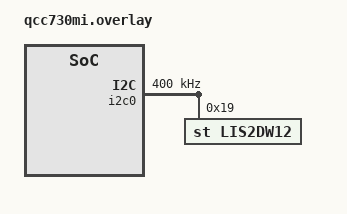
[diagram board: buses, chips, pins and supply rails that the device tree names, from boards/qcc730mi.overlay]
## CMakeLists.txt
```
# SPDX-License-Identifier: BSD-3-Clause-Clear
# Copyright (c) Qualcomm Technologies, Inc. and/or its subsidiaries.

cmake_minimum_required(VERSION 3.20.0)
find_package(Zephyr REQUIRED HINTS $ENV{ZEPHYR_BASE})
project(i2c_qcc730_test)

FILE(GLOB app_sources src/*.c)
target_sources(app PRIVATE ${app_sources})
```

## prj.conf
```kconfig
# SPDX-License-Identifier: BSD-3-Clause-Clear
# Copyright (c) Qualcomm Technologies, Inc. and/or its subsidiaries.

CONFIG_ZTEST=y
CONFIG_ZTRESS=y
CONFIG_ZTRESS_MAX_THREADS=5
CONFIG_SYS_CLOCK_TICKS_PER_SEC=10000
CONFIG_ZTEST_STACK_SIZE=2048
CONFIG_I2C=y
CONFIG_I2C_QCC730_TIMEOUT_MS=100
CONFIG_SENSOR=y
CONFIG_LIS2DW12=y

# Performance Optimizations
CONFIG_SYSTEM_WORKQUEUE_STACK_SIZE=2048
CONFIG_MAIN_STACK_SIZE=2048
```

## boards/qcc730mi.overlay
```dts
/*
 * Copyright (c) 2025 Qualcomm Technologies, Inc. and/or its subsidiaries
 *
 * SPDX-License-Identifier: BSD-3-Clause-Clear
 */

/ {
	aliases {
		i2c-test = &i2c0;
	};
};

&i2c0 {
	status = "okay";
	clock-frequency = <I2C_BITRATE_FAST>;

	lis2dw12@19 {
		compatible = "st,lis2dw12";
		reg = <0x19>;
		power-mode = <4>;      /* High Performance mode */
		odr = <1600>;          /* 1600 Hz output data rate */
		status = "okay";
	};
};
```

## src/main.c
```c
/*
 * Copyright (c) Qualcomm Technologies, Inc. and/or its subsidiaries.
 * SPDX-License-Identifier: BSD-3-Clause-Clear
 *
 * I2C Stress Test Suite for QCC730.
 * Uses ztress framework for robustness validation.
 */

#include <zephyr/ztest.h>
#include <zephyr/drivers/i2c.h>
#include <zephyr/drivers/sensor.h>
#include <zephyr/ztress.h>
#include <zephyr/kernel.h>
#include <zephyr/logging/log.h>
#include <zephyr/sys/atomic.h>
#include <zephyr/random/random.h>

#include <string.h>

LOG_MODULE_REGISTER(i2c_stress_test, LOG_LEVEL_INF);

/* Test configuration */
#define TEST_I2C_ADDR         0x50 /* Dummy address for loopback tests */
#define LIS2DW12_ADDR         0x19 /* LIS2DW12 I2C address */
#define LIS2DW12_REG_WHO_AM_I 0x0F
#define LIS2DW12_WHO_AM_I_VAL 0x44

#define ZTRESS_ITERATIONS                  3000
#define ZTRESS_SENSOR_SCAN_ITERATIONS      1000
#define ZTRESS_HIGH_ITERATIONS             10000
#define ZTRESS_NO_PREEMPTION               0
#define ZTRESS_TEST_TIMEOUT_MS             10000U
#define ZTRESS_MINIMUM_OPERATIONS_PER_SEC  1500U
#define ZTRESS_ENDURANCE_ITERATIONS        50000U
#define ZTRESS_ENDURANCE_TIMEOUT_MS        150000U
#define ZTRESS_ERRORS_PERCENTAGE_TOLEARNCE 1

static const struct device *const lis2dw12_dev = DEVICE_DT_GET_ONE(st_lis2dw12);
static const struct device *const i2c_dev = DEVICE_DT_GET_ONE(qcom_qcc730_i2c);

/* Test fixture */
struct i2c_stress_fixture {
	bool use_sensor_addr;
};

/* Stress test context */
struct i2c_stress_context {
	const struct device *dev;
	uint16_t addr;
	uint32_t errors;
	uint32_t operations;
	uint32_t timeouts;
};

/* Global counters */
static atomic_t operation_counter;
static atomic_t error_counter;
static atomic_t timeout_counter;
static struct k_sem test_sem;

/**
 * Helper to convert numeric error value to string.
 */
const char *get_i2c_error_string(int err)
{
	return (err == 0 ? "Success" : strerror(-err));
}

/**
 * Helper to check performance.
 */
void check_performance(const uint32_t total_ops, const int64_t elapsed_time,
		       const uint32_t min_ops_expected, const uint64_t timeout)
{
	uint32_t operations_per_sec = (uint32_t)(((uint64_t)total_ops * 1000U) / elapsed_time);
	LOG_INF("  Performance: %u operations/sec", operations_per_sec);

	zassert_true(operations_per_sec >= ZTRESS_MINIMUM_OPERATIONS_PER_SEC,
		     "Performance too small, expected at least %u operations/sec",
		     ZTRESS_MINIMUM_OPERATIONS_PER_SEC);
	zassert_true(elapsed_time < timeout, "Test should complete before timeout was hit!");
	zassert_true(total_ops >= min_ops_expected,
		     "Insufficient operations completed: %u (expected >= %u)", total_ops,
		     min_ops_expected);
}

/**
 * Helper to check communication problems.
 */
void check_communication_problems(const uint32_t total_ops)
{
	const int32_t tolerance = (total_ops * (ZTRESS_ERRORS_PERCENTAGE_TOLEARNCE) / 100U);
	LOG_INF("Communication problems tolerance: %u", tolerance);
	zassert_within(atomic_get(&error_counter), 0, tolerance,
		       "Amount of errors is beyond the tolerance!");
	zassert_within(atomic_get(&timeout_counter), 0, tolerance,
		       "Amount of timeouts is beyond the tolerance!");
}

/**
 * Helper to send message to the sensor without Zephyr sensor API.
 */
int32_t read_who_am_i_reg(void)
{
	int32_t ret = 0;
	uint8_t who_am_i = 0U;
	const uint8_t reg = LIS2DW12_REG_WHO_AM_I;
	int64_t duration = 0;
	const int64_t start = k_uptime_get();

	ret = i2c_write_read(i2c_dev, LIS2DW12_ADDR, &reg, sizeof(reg), &who_am_i,
			     sizeof(who_am_i));
	duration = k_uptime_get() - start;

	if (ret != 0 || who_am_i != LIS2DW12_WHO_AM_I_VAL) {
		LOG_ERR("I2C failed: %s(%d), who_am_i: 0x%02x", get_i2c_error_string(ret), ret,
			who_am_i);
	}

	if (duration > 10) {
		LOG_WRN("WHO_AM_I took longer than expected %lld ms", duration);
	}

	return ret;
}

/**
 * Helper to print and get information about total amount of operations.
 */
static uint32_t get_total_operations(struct i2c_stress_context *ctx, const uint8_t count)
{
	uint32_t total_ops = 0U;
	LOG_INF("Per-thread statistics:");
	for (uint8_t i = 0U; i < count; i++) {
		LOG_INF("Thread[%u] summary: operations=%u, errors=%u, timeouts=%u", i,
			ctx[i].operations, ctx[i].errors, ctx[i].timeouts);
		total_ops += ctx[i].operations;
	}

	LOG_INF("  Total operations: %ld", atomic_get(&operation_counter));
	LOG_INF("  Total errors: %ld", atomic_get(&error_counter));
	LOG_INF("  Total timeouts: %ld", atomic_get(&timeout_counter));

	return total_ops;
}

/**
 * Test suite setup.
 */
static void *i2c_stress_setup(void)
{
	static struct i2c_stress_fixture fixture = {0};
	int ret = 0;

	/* Check if the sensor device driver is ready */
	zassume_true(device_is_ready(i2c_dev), "I2C device not ready");
	if (device_is_ready(lis2dw12_dev)) {
		fixture.use_sensor_addr = (read_who_am_i_reg() == 0);
	} else {
		LOG_WRN("LIS2DW12 device driver not ready, using controller-only tests");
		fixture.use_sensor_addr = false;
	}

	/* Initialize I2C controller to standard speed */
	ret = i2c_configure(i2c_dev, I2C_MODE_CONTROLLER | I2C_SPEED_SET(I2C_SPEED_FAST));
	zassume_ok(ret, "Failed to configure I2C");

	k_sem_init(&test_sem, 0, 1);
	atomic_set(&operation_counter, 0);
	atomic_set(&error_counter, 0);
	atomic_set(&timeout_counter, 0);

	LOG_INF("I2C stress test setup complete for QCC730");
	LOG_INF("Test mode: %s", fixture.use_sensor_addr ? "With LIS2DW12" : "Controller only");

	return &fixture;
}

/**
 * Test case setup.
 */
static void i2c_stress_before(void *)
{
	int ret = 0;

	/* Reset to standard speed */
	ret = i2c_configure(i2c_dev, I2C_MODE_CONTROLLER | I2C_SPEED_SET(I2C_SPEED_FAST));
	zassert_ok(ret, "Failed to reset I2C configuration");

	/* Clear counters */
	atomic_set(&operation_counter, 0);
	atomic_set(&error_counter, 0);
	atomic_set(&timeout_counter, 0);
	k_sem_reset(&test_sem);
}

/**
 * Test teardown.
 */
static void i2c_stress_teardown(void *f)
{
	LOG_INF("Test completed - Operations: %ld, Errors: %ld, Timeouts: %ld",
		atomic_get(&operation_counter), atomic_get(&error_counter),
		atomic_get(&timeout_counter));

	atomic_set(&operation_counter, 0);
	atomic_set(&error_counter, 0);
	atomic_set(&timeout_counter, 0);
}

ZTEST_SUITE(i2c_stress, NULL, i2c_stress_setup, i2c_stress_before, NULL, i2c_stress_teardown);

/**
 * Ztress handler: Configuration changes only (no actual transfers).
 */
static bool ztress_i2c_config_handler(void *user_data, uint32_t cnt, bool last, int prio)
{
	struct i2c_stress_context *ctx = (struct i2c_stress_context *)user_data;
	uint32_t speed_config = 0U;
	int ret = 0;

	if ((cnt % 2) == 0) {
		speed_config = I2C_MODE_CONTROLLER | I2C_SPEED_SET(I2C_SPEED_STANDARD);
	} else {
		speed_config = I2C_MODE_CONTROLLER | I2C_SPEED_SET(I2C_SPEED_FAST);
	}

	ret = i2c_configure(ctx->dev, speed_config);

	if (ret != 0) {
		atomic_inc(&error_counter);
		ctx->errors++;
		LOG_ERR("Config change failed: %d", ret);
	} else {
		ctx->operations++;
		atomic_inc(&operation_counter);
	}

	if (last) {
		LOG_DBG("Config thread completed: %u operations", ctx->operations);
		return false;
	}

	return true;
}

/**
 * Ztress handler: Multi-device access testing.
 * Tests rapid switching between different I2C addresses to validate address configuration changes.
 */
static bool ztress_i2c_multi_device_handler(void *user_data, uint32_t cnt, bool last, int prio)
{
	struct i2c_stress_context *ctx = (struct i2c_stress_context *)user_data;
	uint8_t reg_addr = 0U;
	uint8_t data = 0U;
	int ret = 0;
	uint8_t addr_index = 0U;
	uint8_t scan_addr = 0U;
	const uint8_t scan_addresses[] = {
		LIS2DW12_ADDR,
		TEST_I2C_ADDR, /* When LIS2DW12 is connected, writing to this address should also be successful */
	};

	addr_index = cnt % ARRAY_SIZE(scan_addresses);
	scan_addr = scan_addresses[addr_index];

	ret = i2c_write_read(ctx->dev, scan_addr, &reg_addr, sizeof(reg_addr), &data, sizeof(data));

	if (ret == -ETIMEDOUT) {
		atomic_inc(&timeout_counter);
		atomic_inc(&error_counter);
		ctx->errors++;
		ctx->timeouts++;
		LOG_DBG("Scan timeout at address 0x%02x", scan_addr);
	}

	ctx->operations++;
	atomic_inc(&operation_counter);

	if (last) {
		LOG_DBG("Multi-device thread completed: %u operations, %u errors", ctx->operations,
			ctx->errors);
		return false;
	}

	return true;
}

/**
 * Ztress handler: Write to sensor if available.
 */
static bool ztress_i2c_sensor_write_handler(void *user_data, uint32_t cnt, bool last, int prio)
{
	struct i2c_stress_context *ctx = (struct i2c_stress_context *)user_data;
	int ret = 0;

	ret = read_who_am_i_reg();

	if (ret == -ETIMEDOUT) {
		atomic_inc(&timeout_counter);
		atomic_inc(&error_counter);
		ctx->errors++;
		ctx->timeouts++;
	} else if (ret != 0) {
		atomic_inc(&error_counter);
		ctx->errors++;
	}

	ctx->operations++;
	atomic_inc(&operation_counter);

	if (last) {
		LOG_DBG("Sensor write thread completed: %u operations", ctx->operations);
		return false;
	}

	return true;
}

/**
 * Ztress handler: Zero-length transfers (lowest overhead).
 */
static bool ztress_i2c_zero_len_handler(void *user_data, uint32_t cnt, bool last, int prio)
{
	struct i2c_stress_context *ctx = (struct i2c_stress_context *)user_data;
	int ret = 0;

	/* Zero message transfer should always succeed */
	ret = i2c_transfer(ctx->dev, NULL, 0, ctx->addr);

	if (ret == -ETIMEDOUT) {
		atomic_inc(&timeout_counter);
		atomic_inc(&error_counter);
		ctx->errors++;
		ctx->timeouts++;
	} else if (ret != 0) {
		atomic_inc(&error_counter);
		ctx->errors++;
	}

	ctx->operations++;
	atomic_inc(&operation_counter);

	if (last) {
		LOG_DBG("Zero-len thread completed: %u operations", ctx->operations);
		return false;
	}

	return true;
}

/**
 * Test: Concurrent I2C operations.
 */
ZTEST_F(i2c_stress, test_concurrent_operations)
{
	const uint8_t concurrent_operations = 4U;
	uint32_t min_expected = 0U;
	uint32_t total_ops = 0U;
	uint32_t expected_sensor_operations = 0U;
	uint32_t expected_no_sensor_operations = 0U;
	int64_t start_time = 0, elapsed_time = 0;
	struct i2c_stress_context ctx[4] = {0};
	uint16_t test_addr = fixture->use_sensor_addr ? LIS2DW12_ADDR : TEST_I2C_ADDR;

	LOG_INF("Starting concurrent I2C operations stress test");
	LOG_INF("This test validates thread safety and synchronization");
	LOG_INF("Using address: 0x%02x (%s)", test_addr,
		fixture->use_sensor_addr ? "LIS2DW12" : "dummy");

	/* Initialize contexts */
	for (uint8_t i = 0U; i < concurrent_operations; i++) {
		ctx[i].dev = i2c_dev;
		ctx[i].addr = test_addr;
		ctx[i].errors = 0;
		ctx[i].operations = 0;
		ctx[i].timeouts = 0;
	}

	ztress_set_timeout(K_MSEC(ZTRESS_TEST_TIMEOUT_MS));
	start_time = k_uptime_get();

	if (fixture->use_sensor_addr) {
		/* With sensor: mix of config, scan, sensor ops, and zero-len */
		ZTRESS_EXECUTE(
			ZTRESS_THREAD(ztress_i2c_config_handler, &ctx[0], ZTRESS_ITERATIONS,
				      ZTRESS_NO_PREEMPTION, Z_TIMEOUT_TICKS(0)),
			ZTRESS_THREAD(ztress_i2c_multi_device_handler, &ctx[1],
				      ZTRESS_SENSOR_SCAN_ITERATIONS, ZTRESS_NO_PREEMPTION,
				      Z_TIMEOUT_TICKS(0)),
			ZTRESS_THREAD(ztress_i2c_sensor_write_handler, &ctx[2], ZTRESS_ITERATIONS,
				      ZTRESS_NO_PREEMPTION, Z_TIMEOUT_TICKS(0)),
			ZTRESS_THREAD(ztress_i2c_zero_len_handler, &ctx[3], ZTRESS_ITERATIONS,
				      ZTRESS_NO_PREEMPTION, Z_TIMEOUT_TICKS(0)));
		expected_sensor_operations = 3 * ZTRESS_ITERATIONS + ZTRESS_SENSOR_SCAN_ITERATIONS;
	} else {
		/* Without sensor: config changes and zero-length only (no timeouts) */
		ZTRESS_EXECUTE(
			ZTRESS_THREAD(ztress_i2c_config_handler, &ctx[0], ZTRESS_ITERATIONS,
				      ZTRESS_NO_PREEMPTION, Z_TIMEOUT_TICKS(0)),
			ZTRESS_THREAD(ztress_i2c_config_handler, &ctx[1], ZTRESS_ITERATIONS,
				      ZTRESS_NO_PREEMPTION, Z_TIMEOUT_TICKS(0)),
			ZTRESS_THREAD(ztress_i2c_zero_len_handler, &ctx[2], ZTRESS_ITERATIONS,
				      ZTRESS_NO_PREEMPTION, Z_TIMEOUT_TICKS(0)),
			ZTRESS_THREAD(ztress_i2c_zero_len_handler, &ctx[3], ZTRESS_ITERATIONS,
				      ZTRESS_NO_PREEMPTION, Z_TIMEOUT_TICKS(0)));
		expected_no_sensor_operations = concurrent_operations * ZTRESS_ITERATIONS;
	}
	elapsed_time = k_uptime_get() - start_time;

	/* Report results */
	LOG_INF("Concurrent test completed in %lld ms", elapsed_time);
	total_ops = get_total_operations(ctx, concurrent_operations);
	min_expected = fixture->use_sensor_addr ? expected_sensor_operations
						: expected_no_sensor_operations;
	check_performance(total_ops, elapsed_time, min_expected, ZTRESS_TEST_TIMEOUT_MS);
	check_communication_problems(total_ops);
}

/**
 * Test: High-frequency configuration changes.
 */
ZTEST_F(i2c_stress, test_high_frequency_config)
{
	const uint8_t concurrent_operations = 2U;
	struct i2c_stress_context ctx[2] = {0};
	uint32_t total_ops = 0U;
	uint32_t min_expected = 0U;
	int64_t start_time = 0, elapsed_time = 0;

	LOG_INF("Starting high-frequency I2C configuration test");
	LOG_INF("This tests driver configuration stability");

	/* Initialize contexts */
	for (uint8_t i = 0U; i < concurrent_operations; i++) {
		ctx[i].dev = i2c_dev;
		ctx[i].addr = TEST_I2C_ADDR;
		ctx[i].errors = 0;
		ctx[i].operations = 0;
		ctx[i].timeouts = 0;
	}

	ztress_set_timeout(K_MSEC(ZTRESS_TEST_TIMEOUT_MS));
	start_time = k_uptime_get();

	/* Execute high-frequency config changes */
	ZTRESS_EXECUTE(ZTRESS_THREAD(ztress_i2c_config_handler, &ctx[0], ZTRESS_HIGH_ITERATIONS,
				     ZTRESS_NO_PREEMPTION, Z_TIMEOUT_TICKS(0)),
		       ZTRESS_THREAD(ztress_i2c_zero_len_handler, &ctx[1], ZTRESS_HIGH_ITERATIONS,
				     ZTRESS_NO_PREEMPTION, Z_TIMEOUT_TICKS(0)));
	min_expected = concurrent_operations * ZTRESS_HIGH_ITERATIONS;
	elapsed_time = k_uptime_get() - start_time;

	/* Report results */
	total_ops = get_total_operations(ctx, concurrent_operations);
	LOG_INF("High-frequency test completed in %lld ms", elapsed_time);
	LOG_INF("  Config changes: %u", ctx[0].operations);
	LOG_INF("  Zero-len transfers: %u", ctx[1].operations);

	check_performance(total_ops, elapsed_time, min_expected, ZTRESS_TEST_TIMEOUT_MS);
}

/**
 * Ztress handler: Sensor register operations.
 */
static bool ztress_sensor_register_handler(void *user_data, uint32_t cnt, bool last, int prio)
{
	struct i2c_stress_context *ctx = (struct i2c_stress_context *)user_data;
	struct sensor_value accel[3] = {0};
	int ret = 0;

	/* Alternate between different sensor operations */
	switch (cnt % 2) {
	case 0:
		/* Read acceleration data */
		ret = sensor_sample_fetch_chan(ctx->dev, SENSOR_CHAN_ACCEL_XYZ);
		if (ret == 0) {
			ret = sensor_channel_get(ctx->dev, SENSOR_CHAN_ACCEL_X, &accel[0]);
			ret |= sensor_channel_get(ctx->dev, SENSOR_CHAN_ACCEL_Y, &accel[1]);
			ret |= sensor_channel_get(ctx->dev, SENSOR_CHAN_ACCEL_Z, &accel[2]);
		}
		break;
	case 1:
		/* Read single axis */
		ret = sensor_sample_fetch_chan(ctx->dev, SENSOR_CHAN_ACCEL_X);
		if (ret == 0) {
			ret = sensor_channel_get(ctx->dev, SENSOR_CHAN_ACCEL_X, &accel[0]);
		}
		break;
	}

	if (ret != 0) {
		atomic_inc(&error_counter);
		ctx->errors++;
		LOG_DBG("Sensor operation failed: %d", ret);
	}

	ctx->operations++;
	atomic_inc(&operation_counter);

	if (last) {
		return false;
	}

	return true;
}

/**
 * Test: Sensor communication stress.
 */
ZTEST_F(i2c_stress, test_sensor_communication_stress)
{
	const uint8_t concurrent_operations = 4U;
	struct i2c_stress_context ctx[4] = {0};
	uint32_t total_ops = 0U;
	uint32_t min_expected = 0U;
	int64_t start_time = 0, elapsed_time = 0;

	/* Skip if sensor not available */
	if (!fixture->use_sensor_addr) {
		ztest_test_skip();
		return;
	}

	LOG_INF("Starting LIS2DW12 sensor communication stress test");

	/* Initialize contexts */
	for (uint8_t i = 0U; i < concurrent_operations; i++) {
		ctx[i].dev = lis2dw12_dev;
		ctx[i].addr = LIS2DW12_ADDR;
		ctx[i].errors = 0;
		ctx[i].operations = 0;
		ctx[i].timeouts = 0;
	}

	ztress_set_timeout(K_MSEC(ZTRESS_TEST_TIMEOUT_MS));
	start_time = k_uptime_get();

	/* Execute sensor stress test via official API and direct data read-write */
	ZTRESS_EXECUTE(ZTRESS_THREAD(ztress_sensor_register_handler, &ctx[0], ZTRESS_ITERATIONS,
				     ZTRESS_NO_PREEMPTION, Z_TIMEOUT_TICKS(0)),
		       ZTRESS_THREAD(ztress_sensor_register_handler, &ctx[1], ZTRESS_ITERATIONS,
				     ZTRESS_NO_PREEMPTION, Z_TIMEOUT_TICKS(0)),
		       ZTRESS_THREAD(ztress_i2c_sensor_write_handler, &ctx[2], ZTRESS_ITERATIONS,
				     ZTRESS_NO_PREEMPTION, Z_TIMEOUT_TICKS(0)),
		       ZTRESS_THREAD(ztress_sensor_register_handler, &ctx[3], ZTRESS_ITERATIONS,
				     ZTRESS_NO_PREEMPTION, Z_TIMEOUT_TICKS(0)));
	min_expected = concurrent_operations * ZTRESS_ITERATIONS;
	elapsed_time = k_uptime_get() - start_time;

	/* Report results */
	LOG_INF("Concurrent test completed in %lld ms", elapsed_time);
	total_ops = get_total_operations(ctx, concurrent_operations);
	check_performance(total_ops, elapsed_time, min_expected, ZTRESS_TEST_TIMEOUT_MS);
	check_communication_problems(total_ops);
}

/**
 * Test: Sensor endurance stress.
 */
ZTEST_F(i2c_stress, test_sensor_endurance_stress)
{
	const uint8_t concurrent_operations = 4U;
	struct i2c_stress_context ctx[4] = {0};
	uint32_t total_ops = 0U;
	uint32_t min_expected = 0U;
	int64_t start_time = 0, elapsed_time = 0;

	/* Skip if sensor not available */
	if (!fixture->use_sensor_addr) {
		ztest_test_skip();
		return;
	}

	LOG_INF("Starting LIS2DW12 sensor endurance stress test");

	/* Initialize contexts */
	for (uint8_t i = 0U; i < concurrent_operations; i++) {
		ctx[i].dev = lis2dw12_dev;
		ctx[i].addr = LIS2DW12_ADDR;
		ctx[i].errors = 0;
		ctx[i].operations = 0;
		ctx[i].timeouts = 0;
	}

	ztress_set_timeout(K_MSEC(ZTRESS_ENDURANCE_TIMEOUT_MS));
	start_time = k_uptime_get();

	/* Execute sensor stress test via official API and direct data read-write */
	ZTRESS_EXECUTE(
		ZTRESS_THREAD(ztress_sensor_register_handler, &ctx[0], ZTRESS_ENDURANCE_ITERATIONS,
			      ZTRESS_NO_PREEMPTION, Z_TIMEOUT_TICKS(0)),
		ZTRESS_THREAD(ztress_sensor_register_handler, &ctx[1], ZTRESS_ENDURANCE_ITERATIONS,
			      ZTRESS_NO_PREEMPTION, Z_TIMEOUT_TICKS(0)),
		ZTRESS_THREAD(ztress_i2c_sensor_write_handler, &ctx[2], ZTRESS_ENDURANCE_ITERATIONS,
			      ZTRESS_NO_PREEMPTION, Z_TIMEOUT_TICKS(0)),
		ZTRESS_THREAD(ztress_sensor_register_handler, &ctx[3], ZTRESS_ENDURANCE_ITERATIONS,
			      ZTRESS_NO_PREEMPTION, Z_TIMEOUT_TICKS(0)));
	min_expected = concurrent_operations * ZTRESS_ENDURANCE_ITERATIONS;
	elapsed_time = k_uptime_get() - start_time;

	/* Report results */
	LOG_INF("Endurance test completed in %lld ms", elapsed_time);
	total_ops = get_total_operations(ctx, concurrent_operations);
	check_performance(total_ops, elapsed_time, min_expected, ZTRESS_ENDURANCE_TIMEOUT_MS);
	check_communication_problems(total_ops);
}
```
